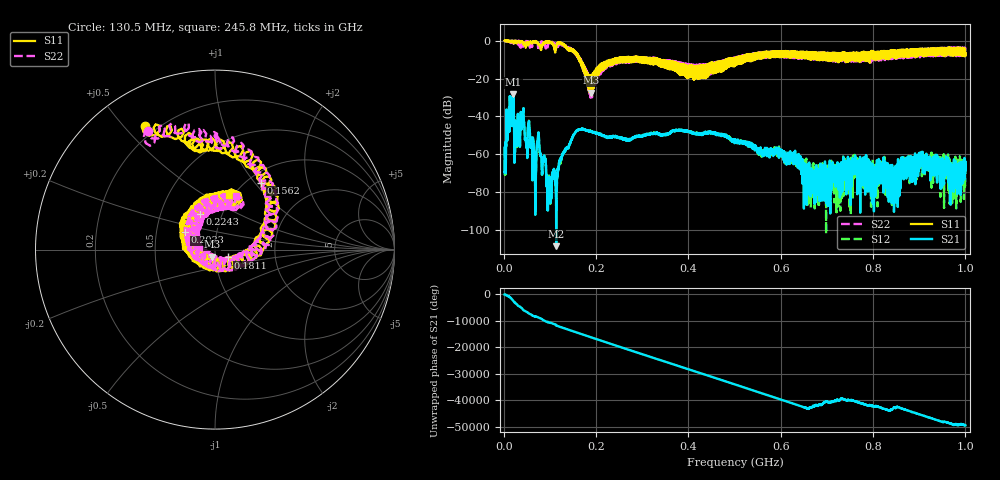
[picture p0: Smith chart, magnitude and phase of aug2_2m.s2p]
!Keysight Technologies N9923A: A.12.45
!Date: Saturday, 02 August 2025 18:32:01
!Timezone: (UTC+08:00) Kuala Lumpur, Singapore
!Model: N9923A
!Serial: MY61181427
!GPS Latitude:
!GPS Longitude:
!GPS TimeStamp: 0001-01-01 00:00:00Z
!GPS Seconds Since Last Read: 0
!CHECKSUM:1550523721
!Correction: S11(ON U)S21(ON U)S12(ON U)S22(ON U)
!S2P File: Measurements:S11,S21,S12,S22:
# Hz S DB R 50
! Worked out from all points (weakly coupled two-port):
!   4001 points, 2 MHz to 1 GHz, reference 50 ohm
!   highest |S21| = -28.24 dB at 21.21 MHz (marker M1); lowest = -108.4 dB at 113.8 MHz (marker M2)
!   lowest |S11| = -27.5 dB at 189.4 MHz (marker M3), VSWR 1.09, Z = 48.2 - j3.72 ohm
!   |S11| at or under -10 dB: 165.9 MHz to 235.3 MHz (69.37 MHz wide, 34.6 % of centre); 235.3 MHz to 236.9 MHz (1.629 MHz wide, 0.69 % of centre); 337.7 MHz to 483 MHz (145.3 MHz wide, 35.4 % of centre) (the widest 3 of 165)
!   |S22| runs from -30.4 to 0.1 dB; largest |S21 - S12| = 0.0012
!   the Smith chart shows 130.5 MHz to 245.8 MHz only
!   S11 on the Smith chart (normalised r, x): 130.5 MHz: 0.15, +0.57; 156.2 MHz: 1.15, +1.08; 181.1 MHz: 1.15, -0.10; 203.3 MHz: 0.70, +0.14; 224.3 MHz: 0.79, +0.33; 245.8 MHz: 0.95, +0.65
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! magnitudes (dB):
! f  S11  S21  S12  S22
! 2 MHz  -0.1  -56.4  -56.3  -0.1
! 16.72 MHz  -0.1  -35.3  -35.3  -0.1
! 21.21 MHz  -1.0  -28.2  -28.3  -1.2
! 56.89 MHz  -0.5  -49.2  -49.4  -3.8
! 66.87 MHz  -0.4  -64.2  -63.7  -0.4
! 76.35 MHz  -2.4  -52.1  -51.4  -2.8
! 98.06 MHz  -1.1  -74.9  -70.5  -1.6
! 113.8 MHz  -2.9  -108.4  -89.6  -2.1
! 130.5 MHz  -2.0  -59.2  -58.3  -2.4
! 156.2 MHz  -6.9  -48.0  -48.1  -6.8
! 168.4 MHz  -12.7  -46.6  -46.6  -12.9
! 181.1 MHz  -21.5  -47.5  -47.6  -18.5
! 189.4 MHz  -27.5  -48.0  -47.8  -23.9
! 203.3 MHz  -14.3  -48.7  -48.8  -16.3
! 224.3 MHz  -13.4  -51.2  -51.0  -12.9
! 245.8 MHz  -10.0  -50.5  -50.7  -9.9
! 334.8 MHz  -11.8  -48.8  -49.1  -10.0
! 501 MHz  -11.5  -53.2  -52.5  -11.6
! 633 MHz  -7.9  -65.2  -60.5  -6.1
! 667.4 MHz  -6.9  -77.1  -73.5  -9.2
! 833.8 MHz  -6.6  -81.8  -65.9  -7.4
! 1 GHz  -6.6  -68.3  -65.1  -3.6
